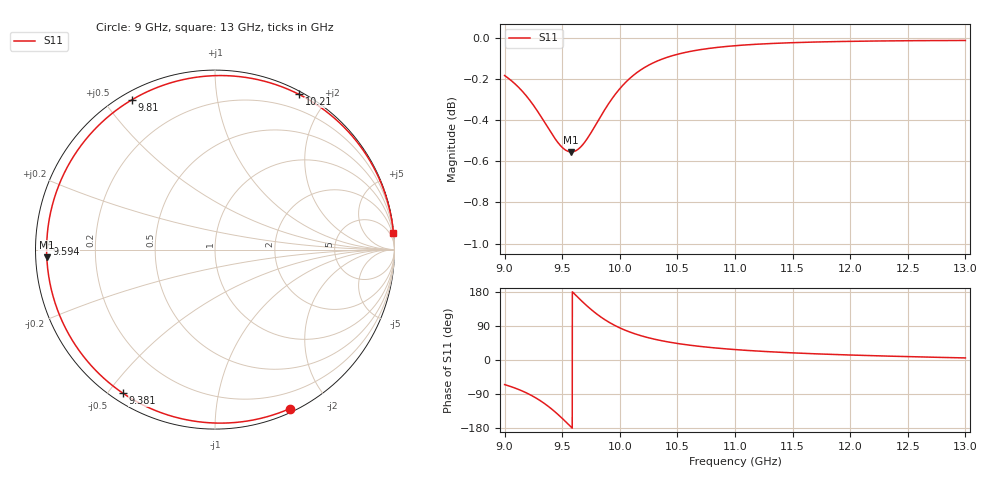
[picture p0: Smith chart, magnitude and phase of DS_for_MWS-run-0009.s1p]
! TOUCHSTONE file generated by CST DESIGN STUDIO
! Date and time: Tue Feb  4 13:50:00 2025
! Project name: C:\Work\MatlabApps\UnitCellOptimizationMatlab\CST\unitcell.cst
! Tree item: Tasks\Sweep1\SPara1\S-Parameters
! Header version: 2024
! Port assignment regex: !\s*Touchstone port\s*([0-9]+)\s*=\s*(CST MWS port|CST DES external port|CST DES block port)\s*(.+)\s* \(\"(.*)\"\)(\s*mode\s*([0-9]+))?.*
! Touchstone port assignment:
! Touchstone port 1 = CST DES external port 1 ("")
# GHz S MA R 50
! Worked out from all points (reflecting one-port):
!   4001 points, 9 GHz to 13 GHz, reference 50 ohm
!   lowest |S11| = -0.6 dB at 9.579 GHz (marker M1), VSWR 31.34, Z = 1.6 - j1.13 ohm
!   phase of S11 starts at -65 deg and turns -290 deg over the sweep
!   S11 on the Smith chart (normalised r, x): 9 GHz: 0.04, -1.57; 9.381 GHz: 0.03, -0.55; 9.594 GHz: 0.03, +0.02; 9.81 GHz: 0.03, +0.59; 10.21 GHz: 0.03, +1.68; 13 GHz: 0, +21
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9  0.9791 -64.9
9.046  0.977 -69.3
9.114  0.9732 -76.8
9.231  0.9646 -93.2
9.311  0.9574 -107.6
9.381  0.9505 -122.7
9.44  0.945 -137.4
9.5  0.9405 -154.0
9.54  0.9388 -165.7
9.579  0.9382 -177.4
9.594  0.9383 178.0
9.649  0.9401 161.6
9.71  0.9445 144.2
9.76  0.9493 131.0
9.81  0.9545 119.1
9.852  0.9588 110.0
9.896  0.9632 101.5
10  0.972 84.7
10.102  0.9784 72.1
10.213  0.9835 61.6
10.345  0.9876 52.0
10.5  0.9908 43.6
10.72  0.9936 35.1
11  0.9956 27.5
11.5  0.9973 18.8
12  0.9981 13.1
12.5  0.9984 8.9
13  0.9985 5.4
